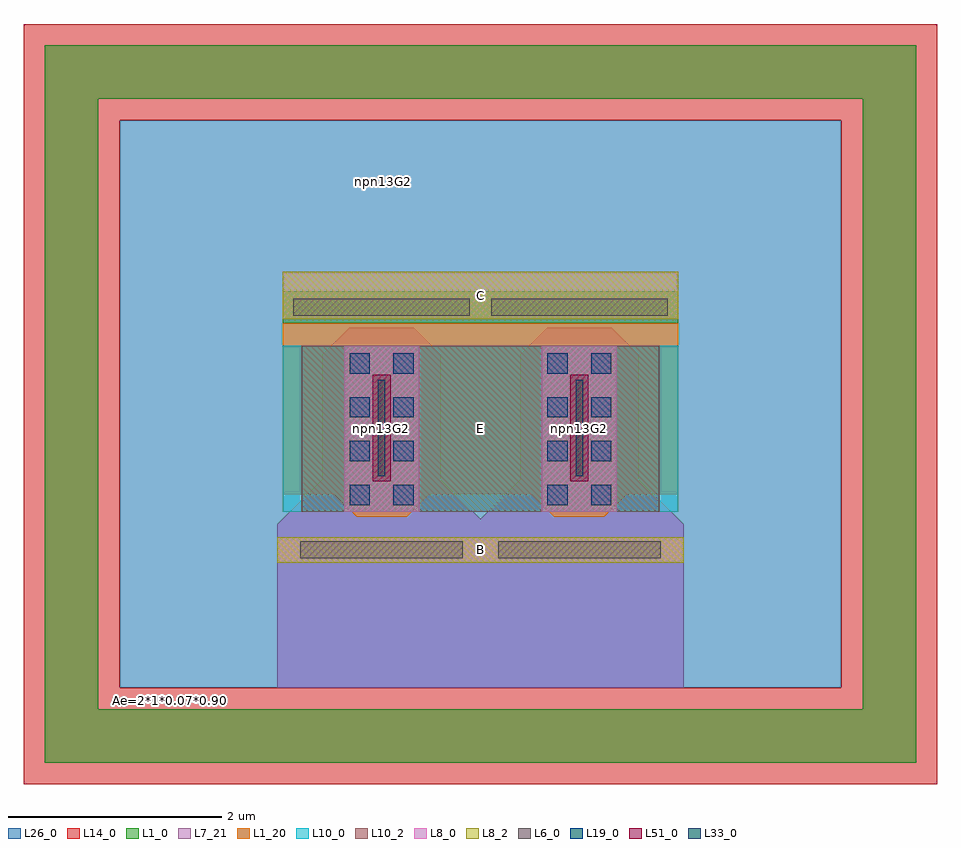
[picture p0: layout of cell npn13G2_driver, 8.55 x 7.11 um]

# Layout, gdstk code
import gdstk
lib = gdstk.Library(unit=1e-6, precision=1e-09)
def R(c, l, rs):  # rectangles x0, y0, x1, y1
    for r in rs: c.add(gdstk.rectangle(r[:2], r[2:], *l))
def A(c, l, x, y, w, h, nx, ny, dx, dy):  # array of equal rectangles
    R(c, l, [(x+i*dx, y+j*dy, x+i*dx+w, y+j*dy+h) for i in range(nx) for j in range(ny)])
def P(c, l, *ps):  # polygons
    for p in ps: c.add(gdstk.Polygon(p, *l))
L1_0 = (1, 0)
L1_20 = (1, 20)
L6_0 = (6, 0)
L7_21 = (7, 21)
L8_0 = (8, 0)
L8_2 = (8, 2)
L10_0 = (10, 0)
L10_2 = (10, 2)
L14_0 = (14, 0)
L19_0 = (19, 0)
L26_0 = (26, 0)
L33_0 = (33, 0)
L51_0 = (51, 0)

npn13g2_driver = lib.new_cell('npn13G2_driver')
R(npn13g2_driver, L1_0, [(-0.925,0.98,0.925,1.28), (0.925,0.98,2.775,1.28)])
P(npn13g2_driver, L1_0, [(-3.15,-3.13),(-3.15,3.58),(4.5,3.58),(4.5,3.08),(-2.65,3.08),(-2.65,-2.63),(4.5,-2.63),(4.5,3.58),(5,3.58),(5,-3.13)])
P(npn13g2_driver, L1_20, [(-0.235,-0.83),(-0.445,-0.62),(-0.925,-0.62),(-0.925,0.98),(0.925,0.98),(0.925,-0.62),(0.445,-0.62),(0.235,-0.83)],
  [(1.615,-0.83),(1.405,-0.62),(0.925,-0.62),(0.925,0.98),(2.775,0.98),(2.775,-0.62),(2.295,-0.62),(2.085,-0.83)])
R(npn13g2_driver, L6_0, [(-0.76,-1.22,0.76,-1.06), (1.09,-1.22,2.61,-1.06), (-0.825,1.05,0.825,1.21), (1.025,1.05,2.675,1.21)])
P(npn13g2_driver, L7_21, [(-0.975,-2.43),(-0.975,-0.9),(-0.555,-0.48),(-0.555,0.69),(-0.305,0.94),(0.305,0.94),(0.555,0.69),(0.555,-0.48),(0.975,-0.9),(0.975,-2.43)],
  [(0.875,-2.43),(0.875,-0.9),(1.295,-0.48),(1.295,0.69),(1.545,0.94),(2.155,0.94),(2.405,0.69),(2.405,-0.48),(2.825,-0.9),(2.825,-2.43)])
R(npn13g2_driver, L8_0, [(-0.975,-1.26,2.825,-1.02), (-0.35,-0.785,0.35,0.77), (1.5,-0.785,2.2,0.77), (-0.925,1.02,2.775,1.46)])
R(npn13g2_driver, L8_2, [(-0.975,-1.26,2.825,-1.02), (-0.925,1.02,2.775,1.46)])
R(npn13g2_driver, L10_0, [(-0.925,-0.785,2.775,0.77)])
R(npn13g2_driver, L10_2, [(-0.745,-0.785,2.595,0.77)])
P(npn13g2_driver, L14_0, [(-3.35,-3.33),(-3.35,3.78),(4.3,3.78),(4.3,2.88),(-2.45,2.88),(-2.45,-2.43),(4.3,-2.43),(4.3,3.78),(5.2,3.78),(5.2,-3.33)])
A(npn13g2_driver, L19_0, -0.3, -0.72, 0.19, 0.19, 1, 4, 0, 0.41)
A(npn13g2_driver, L19_0, 0.11, -0.72, 0.19, 0.19, 1, 4, 0, 0.41)
A(npn13g2_driver, L19_0, 1.55, -0.72, 0.19, 0.19, 1, 4, 0, 0.41)
A(npn13g2_driver, L19_0, 1.96, -0.72, 0.19, 0.19, 1, 4, 0, 0.41)
R(npn13g2_driver, L26_0, [(-2.45,-2.43,4.3,2.88)])
R(npn13g2_driver, L33_0, [(-0.035,-0.45,0.035,0.45), (1.815,-0.45,1.885,0.45)])
R(npn13g2_driver, L51_0, [(-0.085,-0.5,0.085,0.5), (1.765,-0.5,1.935,0.5)])
npn13g2_driver.add(gdstk.Label('npn13G2', (0.015,2.31), layer=63, texttype=0))
npn13g2_driver.add(gdstk.Label('C', (0.925,1.24), layer=63, texttype=0))
npn13g2_driver.add(gdstk.Label('B', (0.925,-1.14), layer=63, texttype=0))
npn13g2_driver.add(gdstk.Label('E', (0.925,-0.007), layer=63, texttype=0))
npn13g2_driver.add(gdstk.Label('Ae=2*1*0.07*0.90', (-1.977,-2.546), layer=63, texttype=0))
npn13g2_driver.add(gdstk.Label('npn13G2', (0,0), layer=51, texttype=0))
npn13g2_driver.add(gdstk.Label('npn13G2', (1.85,0), layer=51, texttype=0))
npn13g2_driver.add(gdstk.Label('C', (0.925,1.24), layer=8, texttype=25))
npn13g2_driver.add(gdstk.Label('B', (0.925,-1.14), layer=8, texttype=25))
npn13g2_driver.add(gdstk.Label('E', (0.925,-0.008), layer=10, texttype=25))

lib.write_gds('npn13G2_driver.gds')
